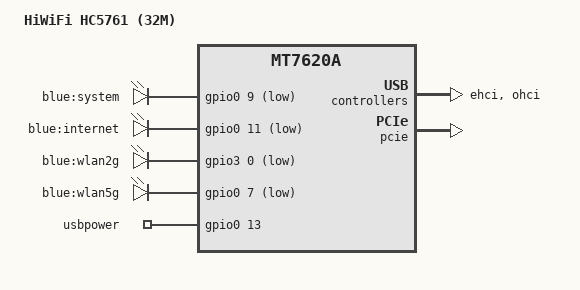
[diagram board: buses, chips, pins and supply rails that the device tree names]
#include "mt7620a_hiwifi_hc5x61-32m.dtsi"

/ {
	compatible = "hiwifi,hc5761-32m", "hiwifi,hc5x61-32m", "ralink,mt7620a-soc";
	model = "HiWiFi HC5761 (32M)";

	aliases {
		led-boot = &led_system;
		led-failsafe = &led_system;
		led-running = &led_system;
		led-upgrade = &led_system;
	};

	leds {
		compatible = "gpio-leds";

		led_system: system {
			label = "blue:system";
			gpios = <&gpio0 9 GPIO_ACTIVE_LOW>;
		};

		internet {
			label = "blue:internet";
			gpios = <&gpio0 11 GPIO_ACTIVE_LOW>;
		};

		wlan2g {
			label = "blue:wlan2g";
			gpios = <&gpio3 0 GPIO_ACTIVE_LOW>;
			linux,default-trigger = "phy1tpt";
		};

		wlan5g {
			label = "blue:wlan5g";
			gpios = <&gpio0 7 GPIO_ACTIVE_LOW>;
			linux,default-trigger = "phy0tpt";
		};
	};

	gpio_export {
		compatible = "gpio-export";
		#size-cells = <0>;

		usbpower {
			gpio-export,name = "usbpower";
			gpio-export,output = <1>;
			gpios = <&gpio0 13 GPIO_ACTIVE_HIGH>;
		};
	};
};

&ehci {
	status = "okay";
};

&ohci {
	status = "okay";
};

&pcie {
	status = "okay";
};

&pcie0 {
	mt76@0,0 {
		reg = <0x0000 0 0 0 0>;
		mediatek,mtd-eeprom = <&factory 0x8000>;
		ieee80211-freq-limit = <5000000 6000000>;
	};
};
